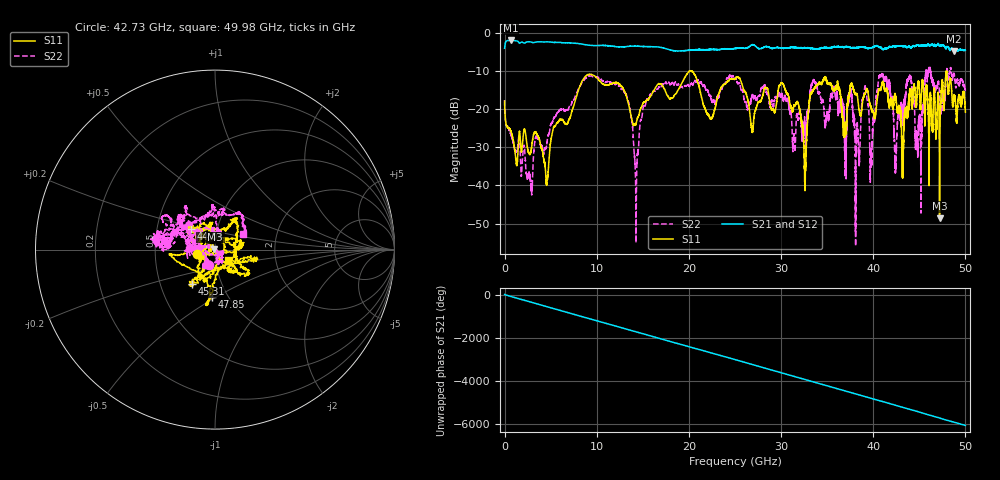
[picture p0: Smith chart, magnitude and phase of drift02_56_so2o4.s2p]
!Created with skrf (http://scikit-rf.org).
# Hz S RI R 50.0
!freq ReS11 ImS11 ReS21 ImS21 ReS12 ImS12 ReS22 ImS22
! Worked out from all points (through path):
!   10001 points, 300 kHz to 50 GHz, reference 50 ohm
!   highest |S21| = -1.99 dB at 645.3 MHz (marker M1); lowest = -4.8 dB at 48.77 GHz (marker M2)
!   group delay of S21, straight-line fit = 337 ps
!   lowest |S11| = -48.6 dB at 47.2 GHz (marker M3), VSWR 1.01, Z = 49.6 + j0.0811 ohm
!   |S11| at or under -10 dB: start of sweep to 20.06 GHz; 20.20799 GHz to 20.22047 GHz (12.47 MHz wide, 0.0617 % of centre); 20.24 GHz to end of sweep (the widest 3 of 5)
!   |S22| runs from -55.9 to -8.8 dB; largest |S21 - S12| = 0.036
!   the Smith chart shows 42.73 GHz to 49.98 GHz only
!   S11 on the Smith chart (normalised r, x): 42.73 GHz: 0.82, -0.04; 44.04 GHz: 0.75, +0.17; 45.31 GHz: 0.72, -0.29; 47.85 GHz: 0.85, -0.48; 49.98 GHz: 1.15, -0.14
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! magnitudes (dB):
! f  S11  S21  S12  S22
! 300 kHz  -17.9  -4.0  -4.0  -17.7
! 645.3 MHz  -25.7  -2.0  -2.0  -26.4
! 4.565 GHz  -40.0  -2.4  -2.4  -29.5
! 8.335 GHz  -13.0  -2.9  -2.9  -13.2
! 13 GHz  -15.3  -3.7  -3.6  -15.6
! 14.28 GHz  -23.8  -3.5  -3.5  -49.3
! 16.67 GHz  -13.3  -3.7  -3.7  -14.5
! 25 GHz  -12.1  -4.1  -4.1  -12.1
! 26.86 GHz  -25.7  -3.1  -3.1  -16.5
! 30.19 GHz  -13.3  -4.1  -4.1  -16.7
! 32.58 GHz  -38.0  -4.0  -3.9  -25.5
! 33.34 GHz  -15.7  -4.0  -4.1  -13.5
! 38.29 GHz  -16.8  -3.9  -3.9  -24.1
! 41.67 GHz  -18.2  -3.7  -3.9  -12.8
! 42.73 GHz  -19.7  -3.4  -3.4  -20.6
! 44.04 GHz  -15.1  -3.9  -3.9  -11.1
! 45.31 GHz  -12.6  -3.2  -3.2  -20.0
! 47.2 GHz  -48.6  -3.4  -3.4  -16.1
! 47.85 GHz  -11.6  -4.0  -4.0  -13.8
! 48.77 GHz  -17.1  -4.8  -4.8  -10.7
! 49.98 GHz  -20.4  -4.6  -4.5  -14.9
! 50 GHz  -20.8  -4.6  -4.5  -15.3
